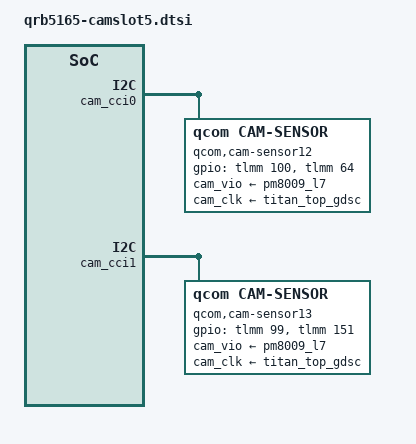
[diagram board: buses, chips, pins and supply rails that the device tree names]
#include "qrb5165.dtsi"
#include "kona-v2.1-iot-rb5.dtsi"

&tlmm {
	cam_sensor_active_gmsl: cam_sensor_active_gmsl {
		mux {
			pins = "gpio999";
		};

		config {
			pins = "gpio999";
		};
	};

	cam_sensor_active_rst7: cam_sensor_active_rst7 {
		/* RESET 7 */
		mux {
			pins = "gpio64";
			function = "gpio";
		};

		config {
			pins = "gpio64";
			bias-disable; /* No PULL */
			drive-strength = <2>; /* 2 MA */
		};
	};

	cam_sensor_suspend_rst7: cam_sensor_suspend_rst7 {
		/* RESET 7 */
		mux {
			pins = "gpio64";
			function = "gpio";
		};

		config {
			pins = "gpio64";
			bias-pull-down; /* PULL DOWN */
			drive-strength = <2>; /* 2 MA */
			output-low;
		};
	};

	cam_sensor_active_rst8: cam_sensor_active_rst8 {
		/* RESET 8 */
		mux {
			pins = "gpio151";
			function = "gpio";
		};

		config {
			pins = "gpio151";
			bias-disable; /* No PULL */
			drive-strength = <2>; /* 2 MA */
		};
	};

	cam_sensor_suspend_rst8: cam_sensor_suspend_rst8 {
		/* RESET 8 */
		mux {
			pins = "gpio151";
			function = "gpio";
		};

		config {
			pins = "gpio151";
			bias-pull-down; /* PULL DOWN */
			drive-strength = <2>; /* 2 MA */
			output-low;
		};
	};
};

&cam_cci0 {
	qcom,cam-sensor12 {
		cell-index = <12>;
		compatible = "qcom,cam-sensor";
		csiphy-sd-index = <4>;
		sensor-position-roll = <90>;
		sensor-position-pitch = <0>;
		sensor-position-yaw = <180>;
		cam_vio-supply = <&pm8009_l7>;
		cam_clk-supply = <&titan_top_gdsc>;
		regulator-names = "cam_vio", "cam_clk";
		rgltr-cntrl-support;
		pwm-switch;
		rgltr-min-voltage = <1800000 0>;
		rgltr-max-voltage = <1800000 0>;
		rgltr-load-current = <120000 0>;
		gpio-no-mux = <0>;
		pinctrl-names = "cam_default", "cam_suspend";
		pinctrl-0 = <&cam_sensor_mclk6_active
			&cam_sensor_active_rst7>;
		pinctrl-1 = <&cam_sensor_mclk6_suspend
			&cam_sensor_suspend_rst7>;
		gpios = <&tlmm 100 0>,
			<&tlmm 64 0>;
		gpio-reset = <1>;
		gpio-req-tbl-num = <0 1>;
		gpio-req-tbl-flags = <1 0>;
		gpio-req-tbl-label = "CAMIF_MCLK6",
			"CAM_RESET0";
		sensor-mode = <0>;
		cci-master = <0>;
		status = "ok";
		clocks = <&clock_camcc CAM_CC_MCLK6_CLK>;
		clock-names = "cam_clk";
		clock-cntl-level = "turbo";
		clock-rates = <24000000>;
	};
};

&cam_cci1 {
	qcom,cam-sensor13 {
		cell-index = <13>;
		compatible = "qcom,cam-sensor";
		csiphy-sd-index = <5>;
		sensor-position-roll = <90>;
		sensor-position-pitch = <0>;
		sensor-position-yaw = <180>;
		cam_vio-supply = <&pm8009_l7>;
		cam_clk-supply = <&titan_top_gdsc>;
		regulator-names = "cam_vio", "cam_clk";
		rgltr-cntrl-support;
		pwm-switch;
		rgltr-min-voltage = <1800000 0>;
		rgltr-max-voltage = <1800000 0>;
		rgltr-load-current = <120000 0>;
		gpio-no-mux = <0>;
		pinctrl-names = "cam_default", "cam_suspend";
		pinctrl-0 = <&cam_sensor_mclk5_active
			&cam_sensor_active_rst8>;
		pinctrl-1 = <&cam_sensor_mclk5_suspend
			&cam_sensor_suspend_rst8>;
		gpios = <&tlmm 99 0>,
			<&tlmm 151 0>;
		gpio-reset = <1>;
		gpio-req-tbl-num = <0 1>;
		gpio-req-tbl-flags = <1 0>;
		gpio-req-tbl-label = "CAMIF_MCLK5",
			"CAM_RESET0";
		sensor-mode = <0>;
		cci-master = <1>;
		status = "ok";
		clocks = <&clock_camcc CAM_CC_MCLK5_CLK>;
		clock-names = "cam_clk";
		clock-cntl-level = "turbo";
		clock-rates = <24000000>;
	};
};
